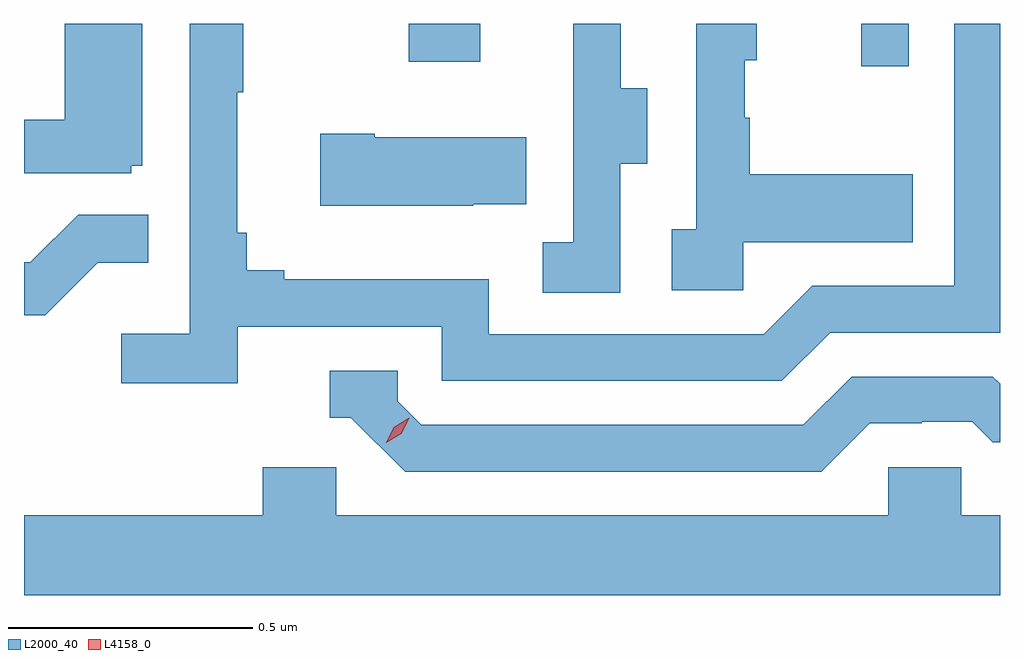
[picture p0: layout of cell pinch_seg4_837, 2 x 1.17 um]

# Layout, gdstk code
import gdstk
lib = gdstk.Library(unit=1e-6, precision=1e-09)
def R(c, l, rs):  # rectangles x0, y0, x1, y1
    for r in rs: c.add(gdstk.rectangle(r[:2], r[2:], *l))
def P(c, l, *ps):  # polygons
    for p in ps: c.add(gdstk.Polygon(p, *l))
L2000_40 = (2000, 40)
L4158_0 = (4158, 0)

pinch_seg4_837 = lib.new_cell('pinch_seg4_837')
R(pinch_seg4_837, L2000_40, [(794.792,795.24,794.889,795.327), (793.864,795.249,794.011,795.327)])
P(pinch_seg4_837, L2000_40, [(793.296,795.036),(793.318,795.036),(793.318,795.327),(793.16,795.327),(793.16,795.13),(793.076,795.13),(793.076,795.021),(793.296,795.021)],
  [(794.298,795.04),(794.353,795.04),(794.353,795.195),(794.299,795.195),(794.299,795.327),(794.201,795.327),(794.201,795.183),(794.202,795.183),(794.202,794.879),(794.139,794.879),(794.139,794.776),(794.298,794.776)],
  [(794.55,794.879),(794.897,794.879),(794.897,795.019),(794.563,795.019),(794.563,795.134),(794.553,795.134),(794.553,795.252),(794.578,795.252),(794.578,795.327),(794.454,795.327),(794.454,794.906),(794.403,794.906),(794.403,794.781),(794.55,794.781)],
  [(793.514,794.706),(793.932,794.706),(793.932,794.595),(794.629,794.595),(794.728,794.694),(795.076,794.694),(795.076,795.327),(794.982,795.327),(794.982,794.79),(794.691,794.79),(794.592,794.691),(794.028,794.691),(794.028,794.803),(793.609,794.803),(793.609,794.822),(793.532,794.822),(793.532,794.899),(793.513,794.899),(793.513,795.187),(793.525,795.187),(793.525,795.327),(793.416,795.327),(793.416,794.692),(793.275,794.692),(793.275,794.59),(793.514,794.59)],
  [(793.997,794.957),(794.105,794.957),(794.105,795.094),(793.795,795.094),(793.795,795.102),(793.683,795.102),(793.683,794.954),(793.997,794.954)],
  [(793.227,794.837),(793.331,794.837),(793.331,794.936),(793.187,794.936),(793.089,794.838),(793.076,794.838),(793.076,794.73),(793.12,794.73)],
  [(794.809,794.508),(794.916,794.508),(794.916,794.511),(795.019,794.511),(795.061,794.469),(795.076,794.469),(795.076,794.589),(795.061,794.604),(794.772,794.604),(794.673,794.505),(793.89,794.505),(793.842,794.553),(793.842,794.616),(793.703,794.616),(793.703,794.52),(793.746,794.52),(793.857,794.409),(794.71,794.409)],
  [(795.076,794.32),(794.997,794.32),(794.997,794.418),(794.847,794.418),(794.847,794.32),(793.716,794.32),(793.716,794.418),(793.565,794.418),(793.565,794.32),(793.076,794.32),(793.076,794.156),(795.076,794.156)])
P(pinch_seg4_837, L4158_0, [(793.818,794.468),(793.818,794.468),(793.834,794.5),(793.865,794.52),(793.865,794.52),(793.865,794.519),(793.849,794.487),(793.818,794.468)])

lib.write_gds('pinch_seg4_837.gds')
